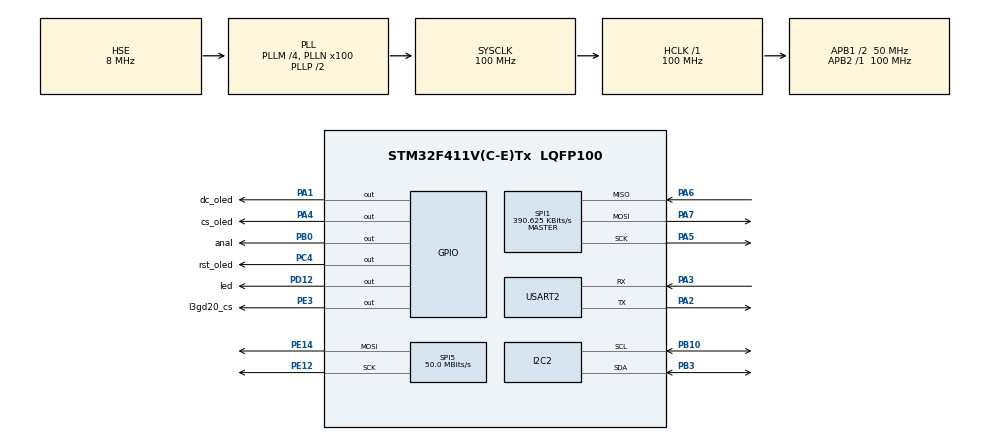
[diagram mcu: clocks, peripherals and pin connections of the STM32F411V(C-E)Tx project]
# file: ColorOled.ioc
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I2C2.I2C_Mode=I2C_Fast
Mcu.Family=STM32F4
Mcu.Name=STM32F411V(C-E)Tx
Mcu.Package=LQFP100
NVIC.PriorityGroup=NVIC_PRIORITYGROUP_4
PA1.GPIO_Label=dc_oled
PA1.GPIO_Speed=GPIO_SPEED_FREQ_VERY_HIGH
PA1.Signal=GPIO_Output
PA2.Mode=Asynchronous
PA2.Signal=USART2_TX
PA3.Mode=Asynchronous
PA3.Signal=USART2_RX
PA4.GPIO_Label=cs_oled
PA4.GPIO_Speed=GPIO_SPEED_FREQ_VERY_HIGH
PA4.PinState=GPIO_PIN_SET
PA4.Signal=GPIO_Output
PA5.Mode=Full_Duplex_Master
PA5.Signal=SPI1_SCK
PA6.Mode=Full_Duplex_Master
PA6.Signal=SPI1_MISO
PA7.Mode=Full_Duplex_Master
PA7.Signal=SPI1_MOSI
PB0.GPIO_Label=anal
PB0.Signal=GPIO_Output
PB10.Mode=I2C
PB10.Signal=I2C2_SCL
PB3.Mode=I2C
PB3.Signal=I2C2_SDA
PC4.GPIO_Label=rst_oled
PC4.GPIO_Speed=GPIO_SPEED_FREQ_VERY_HIGH
PC4.PinState=GPIO_PIN_SET
PC4.Signal=GPIO_Output
PD12.GPIO_Label=led
PD12.GPIO_PuPd=GPIO_PULLUP
PD12.Signal=GPIO_Output
PE12.Mode=TX_Only_Simplex_Unidirect_Master
PE12.Signal=SPI5_SCK
PE14.Mode=TX_Only_Simplex_Unidirect_Master
PE14.Signal=SPI5_MOSI
PE3.GPIO_Label=l3gd20_cs
PE3.GPIO_Speed=GPIO_SPEED_FREQ_VERY_HIGH
PE3.PinState=GPIO_PIN_SET
PE3.Signal=GPIO_Output
PH0\ -\ OSC_IN.Mode=HSE-External-Oscillator
PH0\ -\ OSC_IN.Signal=RCC_OSC_IN
PH1\ -\ OSC_OUT.Mode=HSE-External-Oscillator
PH1\ -\ OSC_OUT.Signal=RCC_OSC_OUT
ProjectManager.HeapSize=0x200
ProjectManager.StackSize=0x400
ProjectManager.TargetToolchain=STM32CubeIDE
RCC.48MHZClocksFreq_Value=50000000
RCC.AHBFreq_Value=100000000
RCC.APB1CLKDivider=RCC_HCLK_DIV2
RCC.APB1Freq_Value=50000000
RCC.APB1TimFreq_Value=100000000
RCC.APB2Freq_Value=100000000
RCC.APB2TimFreq_Value=100000000
RCC.CortexFreq_Value=100000000
RCC.HCLKFreq_Value=100000000
RCC.HSE_VALUE=8000000
RCC.HSI_VALUE=16000000
RCC.LSE_VALUE=32768
RCC.PLLM=4
RCC.PLLN=100
RCC.PLLSourceVirtual=RCC_PLLSOURCE_HSE
RCC.SYSCLKFreq_VALUE=100000000
RCC.SYSCLKSource=RCC_SYSCLKSOURCE_PLLCLK
RCC.VCOOutputFreq_Value=200000000
SPI1.BaudRatePrescaler=SPI_BAUDRATEPRESCALER_256
SPI1.CLKPolarity=SPI_POLARITY_LOW
SPI1.CalculateBaudRate=390.625 KBits/s
SPI1.Direction=SPI_DIRECTION_2LINES
SPI1.Mode=SPI_MODE_MASTER
SPI1.VirtualType=VM_MASTER
SPI5.CalculateBaudRate=50.0 MBits/s
SPI5.Direction=SPI_DIRECTION_2LINES
SPI5.Mode=SPI_MODE_MASTER
SPI5.VirtualType=VM_MASTER
USART2.VirtualMode=VM_ASYNC
board=custom

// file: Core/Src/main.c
/* USER CODE BEGIN Header */
/**
  ******************************************************************************
  * @file           : main.c
  * @brief          : Main program body
  ******************************************************************************
  * @attention
  *
  * <h2><center>&copy; Copyright (c) 2020 STMicroelectronics.
  * All rights reserved.</center></h2>
  *
  * This software component is licensed by ST under BSD 3-Clause license,
  * the "License"; You may not use this file except in compliance with the
  * License. You may obtain a copy of the License at:
  *                        opensource.org/licenses/BSD-3-Clause
  *
  ******************************************************************************
  */
/* USER CODE END Header */
#include "main.h"
#include "i2c.h"
#include "spi.h"
#include "usart.h"
#include "gpio.h"

/* USER CODE BEGIN Includes */
#include "ssd1331.h"
#include "stdio.h"
#include "GFX_Color.h"
#include "fonts/fonts.h"
#include"bmp280.h"
#include "lsm303.h"
#include "l3gd20.h"
/* USER CODE END Includes */

/* USER CODE BEGIN PV */
 BMP280_t BMP;
 LSM_t lsm;
 L3GD_t l3g;
 int16_t x,y,z;
 uint32_t map(uint32_t x, uint32_t in_min, uint32_t in_max, uint32_t out_min, uint32_t out_max)
 {
 	return (x - in_min) * (out_max - out_min) / (in_max - in_min) + out_min;
 }
/* USER CODE END PV */

void SystemClock_Config(void);

int main(void)
{

  /* MCU Configuration--------------------------------------------------------*/

  /* Reset of all peripherals, Initializes the Flash interface and the Systick. */
  HAL_Init();

  /* Configure the system clock */
  SystemClock_Config();

  /* Initialize all configured peripherals */
  MX_GPIO_Init();
  MX_SPI1_Init();
  MX_USART2_UART_Init();
  MX_I2C2_Init();
  MX_SPI5_Init();
  /* USER CODE BEGIN 2 */
  uint32_t czasStart=0,czasStop=0;
  int czas=0;
  uint8_t Uart[20];
 ssd1331_init(&hspi5);
 Lsm303_Init(&lsm, &hi2c2, 0x1d);
 //Lsm_cal(&lsm);
 GFX_SetFont(font_8x5);
 uint16_t i, j;

 	for(i = 0; i < OLED_HEIGHT; i ++){
 		for(j = 0; j < OLED_WIDTH; j ++){
 			setPixel(j, i, BLACK);

 		}

 	}
 	czasStart=HAL_GetTick();
 	ssd1331_display(1);
 	czasStop=HAL_GetTick();
 	czas=czasStop-czasStart;
 	sprintf((char*)Uart,"%d",czas);
 	GFX_DrawString(0, 0, (char*)Uart, BLUE);
    GFX_DrawCircle(48, 32, 15, BROWN);
 	ssd1331_display(1);
 	HAL_Delay(10000);
 	BMP280_Init(&BMP, &hi2c2, 0x76);
 	float press,temp;
 	uint32_t czasoled=0;
 	L3GD_Init(&l3g, &hspi1);

  /* USER CODE END 2 */

  /* Infinite loop */
  /* USER CODE BEGIN WHILE */
  while (1)
  {

	  if(HAL_GetTick()-czasoled>100)
	  {
		  ssd1331_clear();
		  L3GD20_Read(&l3g, &x, &y, &z);
		  BMP280_ReadPressureAndTemperature(&BMP, &press, &temp);
		  sprintf((char*)Uart,"%0.3f",press);
		  GFX_DrawString(0, 0, (char*)Uart, BLUE);
		  sprintf((char*)Uart,"%0.3f",temp);
		  GFX_DrawString(0, 10, (char*)Uart, BLUE);
		  sprintf((char*)Uart,"%d",x);
		  GFX_DrawString(0, 20, (char*)Uart, BLUE);
		  sprintf((char*)Uart,"%0d",y);
		  GFX_DrawString(0, 30, (char*)Uart, BLUE);
		  sprintf((char*)Uart,"%d",z);
		  GFX_DrawString(0, 40, (char*)Uart, BLUE);
		  czas=HAL_GetTick();
		  ssd1331_display(0);
	  }
    /* USER CODE END WHILE */

  }
}

void SystemClock_Config(void)
{
  RCC_OscInitTypeDef RCC_OscInitStruct = {0};
  RCC_ClkInitTypeDef RCC_ClkInitStruct = {0};

  /** Configure the main internal regulator output voltage
  */
  __HAL_RCC_PWR_CLK_ENABLE();
  __HAL_PWR_VOLTAGESCALING_CONFIG(PWR_REGULATOR_VOLTAGE_SCALE1);
  /** Initializes the RCC Oscillators according to the specified parameters
  * in the RCC_OscInitTypeDef structure.
  */
  RCC_OscInitStruct.OscillatorType = RCC_OSCILLATORTYPE_HSE;
  RCC_OscInitStruct.HSEState = RCC_HSE_ON;
  RCC_OscInitStruct.PLL.PLLState = RCC_PLL_ON;
  RCC_OscInitStruct.PLL.PLLSource = RCC_PLLSOURCE_HSE;
  RCC_OscInitStruct.PLL.PLLM = 4;
  RCC_OscInitStruct.PLL.PLLN = 100;
  RCC_OscInitStruct.PLL.PLLP = RCC_PLLP_DIV2;
  RCC_OscInitStruct.PLL.PLLQ = 4;
  if (HAL_RCC_OscConfig(&RCC_OscInitStruct) != HAL_OK)
  {
    Error_Handler();
  }
  /** Initializes the CPU, AHB and APB buses clocks
  */
  RCC_ClkInitStruct.ClockType = RCC_CLOCKTYPE_HCLK|RCC_CLOCKTYPE_SYSCLK
                              |RCC_CLOCKTYPE_PCLK1|RCC_CLOCKTYPE_PCLK2;
  RCC_ClkInitStruct.SYSCLKSource = RCC_SYSCLKSOURCE_PLLCLK;
  RCC_ClkInitStruct.AHBCLKDivider = RCC_SYSCLK_DIV1;
  RCC_ClkInitStruct.APB1CLKDivider = RCC_HCLK_DIV2;
  RCC_ClkInitStruct.APB2CLKDivider = RCC_HCLK_DIV1;

  if (HAL_RCC_ClockConfig(&RCC_ClkInitStruct, FLASH_LATENCY_3) != HAL_OK)
  {
    Error_Handler();
  }
}

void Error_Handler(void)
{
  __disable_irq();
  while (1)
  {
  }
}

/************************ (C) COPYRIGHT STMicroelectronics *****END OF FILE****/
